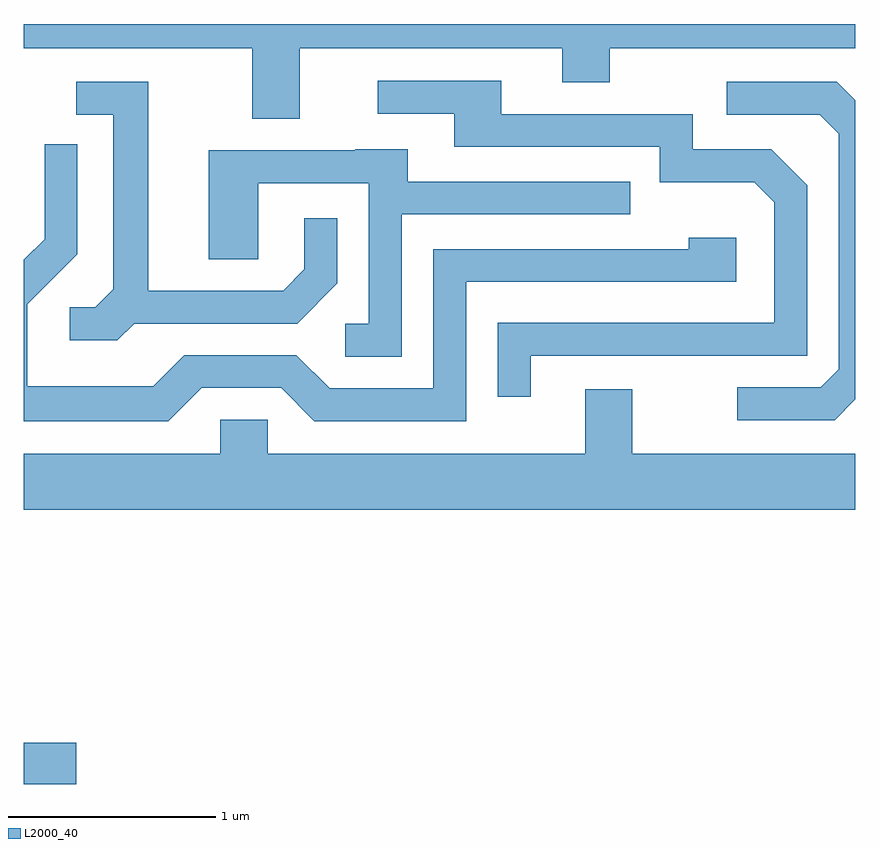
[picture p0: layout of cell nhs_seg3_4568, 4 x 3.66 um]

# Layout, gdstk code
import gdstk
lib = gdstk.Library(unit=1e-6, precision=1e-09)
def R(c, l, rs):  # rectangles x0, y0, x1, y1
    for r in rs: c.add(gdstk.rectangle(r[:2], r[2:], *l))
def P(c, l, *ps):  # polygons
    for p in ps: c.add(gdstk.Polygon(p, *l))
L2000_40 = (2000, 40)

nhs_seg3_4568 = lib.new_cell('nhs_seg3_4568')
R(nhs_seg3_4568, L2000_40, [(319.611,1140.236,319.864,1140.434)])
P(nhs_seg3_4568, L2000_40, [(320.939,1143.776),(322.201,1143.776),(322.201,1143.611),(322.429,1143.611),(322.429,1143.776),(323.611,1143.776),(323.611,1143.892),(319.611,1143.892),(319.611,1143.776),(320.711,1143.776),(320.711,1143.436),(320.939,1143.436)],
  [(322.049,1142.296),(323.379,1142.296),(323.379,1143.117),(323.207,1143.289),(322.829,1143.289),(322.829,1143.459),(321.909,1143.459),(321.909,1143.619),(321.313,1143.619),(321.313,1143.461),(321.681,1143.461),(321.681,1143.301),(322.671,1143.301),(322.671,1143.131),(323.124,1143.131),(323.221,1143.034),(323.221,1142.454),(321.891,1142.454),(321.891,1142.098),(322.049,1142.098)],
  [(320.142,1142.451),(320.927,1142.451),(321.119,1142.644),(321.119,1142.958),(320.961,1142.958),(320.961,1142.712),(320.859,1142.609),(320.209,1142.609),(320.209,1143.614),(319.863,1143.614),(319.863,1143.456),(320.041,1143.456),(320.041,1142.617),(319.954,1142.529),(319.833,1142.529),(319.833,1142.371),(320.062,1142.371)],
  [(323.611,1142.086),(323.611,1143.525),(323.522,1143.614),(322.993,1143.614),(322.993,1143.456),(323.439,1143.456),(323.531,1143.364),(323.531,1142.232),(323.444,1142.144),(323.043,1142.144),(323.043,1141.986),(323.512,1141.986)],
  [(320.467,1142.141),(320.849,1142.141),(321.009,1141.981),(321.739,1141.981),(321.739,1142.651),(323.039,1142.651),(323.039,1142.864),(322.811,1142.864),(322.811,1142.809),(321.581,1142.809),(321.581,1142.139),(321.082,1142.139),(320.922,1142.299),(320.384,1142.299),(320.234,1142.149),(319.629,1142.149),(319.629,1142.544),(319.869,1142.784),(319.869,1143.313),(319.711,1143.313),(319.711,1142.857),(319.611,1142.757),(319.611,1141.981),(320.307,1141.981)],
  [(321.429,1142.976),(322.528,1142.976),(322.528,1143.134),(321.459,1143.134),(321.459,1143.289),(321.205,1143.289),(321.205,1143.284),(320.501,1143.284),(320.501,1142.761),(320.739,1142.761),(320.739,1143.126),(321.271,1143.126),(321.271,1142.449),(321.158,1142.449),(321.158,1142.291),(321.429,1142.291)],
  [(323.611,1141.824),(322.539,1141.824),(322.539,1142.134),(322.311,1142.134),(322.311,1141.824),(320.784,1141.824),(320.784,1141.989),(320.556,1141.989),(320.556,1141.824),(319.611,1141.824),(319.611,1141.556),(323.611,1141.556)])

lib.write_gds('nhs_seg3_4568.gds')
